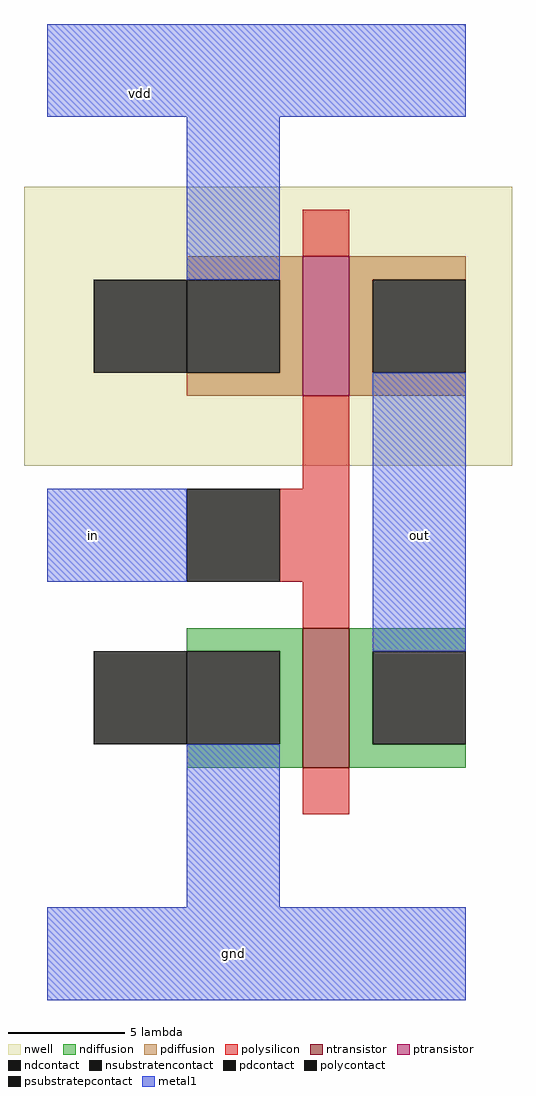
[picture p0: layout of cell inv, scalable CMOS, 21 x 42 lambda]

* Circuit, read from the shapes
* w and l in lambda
.subckt inv gnd in out vdd
M1 out in gnd gnd nfet w=6 l=2
M2 out in vdd vdd pfet w=6 l=2
.ends

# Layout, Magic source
magic
tech scmos
<< nwell >>
rect -4 6 17 18
<< polysilicon >>
rect 8 15 10 17
rect 8 5 10 9
rect 7 1 10 5
rect 8 -1 10 1
rect 8 -9 10 -7
<< ndiffusion >>
rect 3 -2 8 -1
rect 7 -6 8 -2
rect 3 -7 8 -6
rect 10 -2 15 -1
rect 10 -6 11 -2
rect 10 -7 15 -6
<< pdiffusion >>
rect 3 14 8 15
rect 7 10 8 14
rect 3 9 8 10
rect 10 14 15 15
rect 10 10 11 14
rect 10 9 15 10
<< metal1 >>
rect -3 21 15 25
rect 3 14 7 21
rect -3 1 3 5
rect 11 -2 15 10
rect 3 -13 7 -6
rect -3 -17 15 -13
<< ntransistor >>
rect 8 -7 10 -1
<< ptransistor >>
rect 8 9 10 15
<< polycontact >>
rect 3 1 7 5
<< ndcontact >>
rect 3 -6 7 -2
rect 11 -6 15 -2
<< pdcontact >>
rect 3 10 7 14
rect 11 10 15 14
<< psubstratepcontact >>
rect -1 -6 3 -2
<< nsubstratencontact >>
rect -1 10 3 14
<< labels >>
rlabel metal1 1 22 1 22 4 vdd
rlabel metal1 -1 3 -1 3 3 in
rlabel metal1 13 3 13 3 7 out
rlabel metal1 5 -15 5 -15 1 gnd
<< end >>
